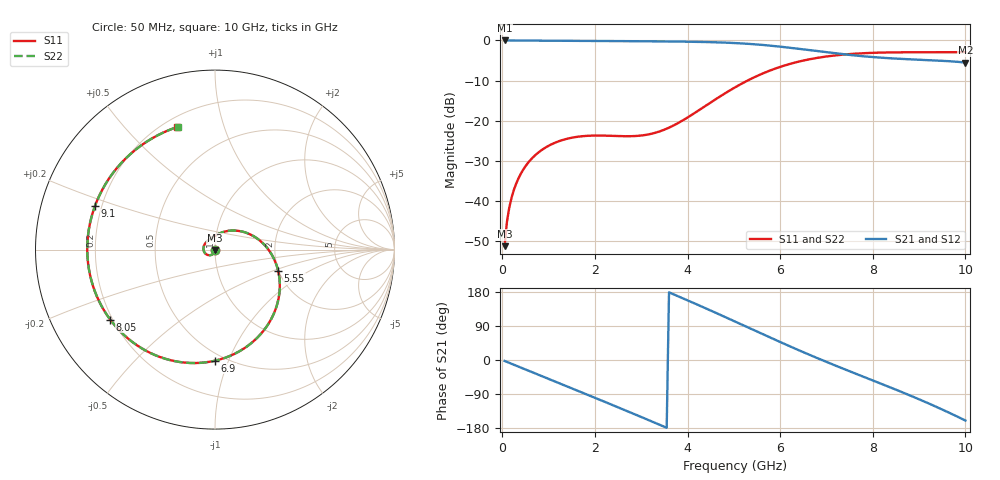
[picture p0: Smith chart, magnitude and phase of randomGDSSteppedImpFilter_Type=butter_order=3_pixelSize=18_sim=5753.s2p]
! freq	dB(S11)	phase(S11)	dB(S12)	phase(S12)
!  dB(S21)	phase(S21)	dB(S22)	phase(S22)
!S-par simulation data
#  GHz  S  DB  R 50
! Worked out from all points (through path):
!   200 points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, 50 MHz to 10 GHz, reference 50 ohm
!   highest |S21| = -0.01 dB at 50 MHz (marker M1); lowest = -5.5 dB at 10 GHz (marker M2)
!   group delay of S21, straight-line fit = 145 ps
!   lowest |S11| = -51.3 dB at 50 MHz (marker M3), VSWR 1.01, Z = 50 - j0.272 ohm
!   |S11| at or under -10 dB: start of sweep to 5.298 GHz
!   |S22| runs from -51.3 to -2.9 dB; largest |S21 - S12| = 0
!   S11 on the Smith chart (normalised r, x): 50 MHz: 1.00, -0.01; 5.55 GHz: 1.99, -0.54; 6.9 GHz: 0.45, -0.90; 8.05 GHz: 0.19, -0.29; 9.1 GHz: 0.17, +0.17; 10 GHz: 0.25, +0.71
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0.05  -51.32 -90.6  -0.01 -2.6  -0.01 -2.6  -51.33 -90.6
0.1  -45.29 -93.7  -0.01 -5.1  -0.01 -5.1  -45.30 -93.7
0.2  -39.24 -98.9  -0.02 -10.0  -0.02 -10.0  -39.24 -98.9
0.5  -31.39 -114.7  -0.03 -25.0  -0.03 -25.0  -31.40 -114.7
1.15  -25.46 -148.6  -0.08 -57.3  -0.08 -57.3  -25.46 -148.6
1.75  -23.87 -179.3  -0.12 -87.2  -0.12 -87.2  -23.87 -179.2
2.5  -23.86 142.1  -0.16 -124.9  -0.16 -124.9  -23.86 142.2
2.95  -23.78 118.7  -0.20 -147.8  -0.20 -147.8  -23.78 118.8
3.4  -22.68 95.2  -0.24 -171.0  -0.24 -171.0  -22.69 95.5
4.15  -18.13 56.5  -0.34 149.4  -0.34 149.4  -18.13 56.8
4.65  -14.36 30.2  -0.48 122.3  -0.48 122.3  -14.36 30.4
5.05  -11.55 8.7  -0.67 100.2  -0.67 100.2  -11.55 8.9
5.55  -8.61 -18.6  -1.05 72.3  -1.05 72.3  -8.61 -18.4
6.15  -6.06 -51.1  -1.74 39.3  -1.74 39.3  -6.06 -51.0
6.7  -4.55 -79.8  -2.53 10.2  -2.53 10.2  -4.55 -79.8
6.9  -4.17 -89.9  -2.82 0.0  -2.82 0.0  -4.17 -89.9
7.45  -3.45 -117.1  -3.56 -27.2  -3.56 -27.2  -3.45 -117.1
8.05  -3.07 -146.2  -4.19 -56.3  -4.19 -56.3  -3.07 -146.3
8.35  -2.99 -161.0  -4.43 -70.9  -4.43 -70.9  -2.99 -161.0
9.1  -2.96 160.1  -4.86 -108.9  -4.86 -108.9  -2.96 160.0
9.55  -2.96 134.5  -5.11 -133.5  -5.11 -133.5  -2.96 134.4
10  -2.92 107.1  -5.52 -159.7  -5.52 -159.7  -2.92 106.9
